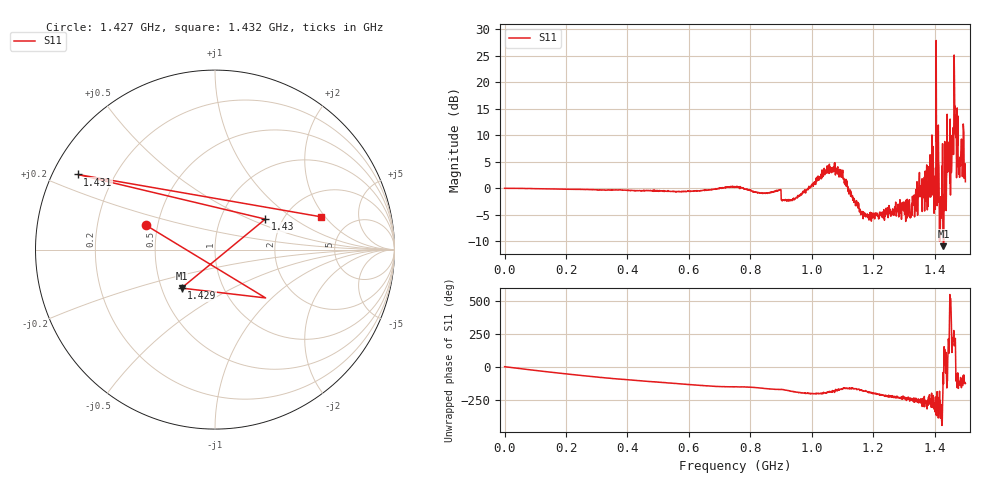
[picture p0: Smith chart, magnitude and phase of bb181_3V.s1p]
# Hz S RI R 50
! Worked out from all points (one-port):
!   1515 points, 50 kHz to 1.5 GHz, reference 50 ohm
!   lowest |S11| = -10.9 dB at 1.429 GHz (marker M1), VSWR 1.79, Z = 31.6 - j14.8 ohm
!   |S11| at or under -10 dB: 1.428332 GHz to 1.429411 GHz (1.079 MHz wide, 0.0755 % of centre)
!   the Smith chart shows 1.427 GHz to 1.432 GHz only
!   S11 on the Smith chart (normalised r, x): 1.427 GHz: 0.43, +0.14; 1.429 GHz: 0.63, -0.30; 1.43 GHz: 1.63, +0.62; 1.431 GHz: 0.07, +0.25; 1.432 GHz: 3.07, +1.81
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50000  0.9992 0.000356
1.882866e8  0.6149 -0.7642
3.755325e8  -0.0653 -0.9636
5.627784e8  -0.5724 -0.7329
7.500243e8  -0.9141 -0.4721
9.382609e8  -0.7822 0.1084
1.072999e9  -1.544 0.1149
1.125507e9  -0.9273 -0.2642
1.312753e9  -0.3395 0.4251
1.383094e9  -0.7987 0.4923
1.396964e9  0.7025 0.6692
1.397955e9  0.0313 0.5801
1.398945e9  1.027 0.7913
1.411825e9  3.485 -1.857
1.412815e9  1.772 0.112
1.413806e9  -0.3081 1.592
1.426685e9  -0.3855 0.1363
1.428667e9  -0.1866 -0.2145
1.429658e9  0.2801 0.17
1.430648e9  -0.7645 0.4185
1.431639e9  0.5896 0.1828
1.455416e9  -1.531 0.6992
1.457398e9  -2.221 -0.7302
1.462351e9  0.2645 -3.804
1.470277e9  2.761 -4.029
1.472258e9  -0.7917 -1.97
1.475231e9  3.298 -3.515
1.499999e9  -0.702 -0.9142
